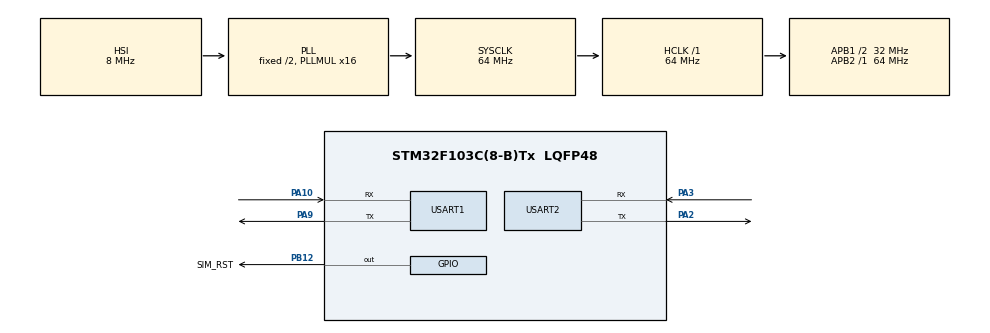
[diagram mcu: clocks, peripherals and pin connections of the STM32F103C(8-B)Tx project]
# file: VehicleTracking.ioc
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Dma.Request0=USART1_RX
Dma.USART1_RX.0.Direction=DMA_PERIPH_TO_MEMORY
Dma.USART1_RX.0.Instance=DMA1_Channel5
Dma.USART1_RX.0.MemDataAlignment=DMA_MDATAALIGN_BYTE
Dma.USART1_RX.0.MemInc=DMA_MINC_ENABLE
Dma.USART1_RX.0.Mode=DMA_NORMAL
Dma.USART1_RX.0.PeriphDataAlignment=DMA_PDATAALIGN_BYTE
Dma.USART1_RX.0.PeriphInc=DMA_PINC_DISABLE
Dma.USART1_RX.0.Priority=DMA_PRIORITY_LOW
Mcu.Family=STM32F1
Mcu.Name=STM32F103C(8-B)Tx
Mcu.Package=LQFP48
NVIC.DMA1_Channel5_IRQn=true\:0\:0\:false\:false\:true\:false\:true\:true
NVIC.PriorityGroup=NVIC_PRIORITYGROUP_4
NVIC.USART1_IRQn=true\:0\:0\:false\:false\:true\:true\:true\:true
NVIC.USART2_IRQn=true\:0\:0\:false\:false\:true\:true\:true\:true
PA10.Mode=Asynchronous
PA10.Signal=USART1_RX
PA13.Mode=Serial_Wire
PA13.Signal=SYS_JTMS-SWDIO
PA14.Mode=Serial_Wire
PA14.Signal=SYS_JTCK-SWCLK
PA2.Mode=Asynchronous
PA2.Signal=USART2_TX
PA3.Mode=Asynchronous
PA3.Signal=USART2_RX
PA9.Mode=Asynchronous
PA9.Signal=USART1_TX
PB12.GPIO_Label=SIM_RST
PB12.Signal=GPIO_Output
ProjectManager.HeapSize=0x200
ProjectManager.StackSize=0x400
ProjectManager.TargetToolchain=STM32CubeIDE
RCC.AHBFreq_Value=64000000
RCC.APB1CLKDivider=RCC_HCLK_DIV2
RCC.APB1Freq_Value=32000000
RCC.APB1TimFreq_Value=64000000
RCC.APB2Freq_Value=64000000
RCC.APB2TimFreq_Value=64000000
RCC.HCLKFreq_Value=64000000
RCC.PLLMUL=RCC_PLL_MUL16
RCC.SYSCLKFreq_VALUE=64000000
RCC.SYSCLKSource=RCC_SYSCLKSOURCE_PLLCLK
RCC.USBFreq_Value=64000000
USART1.VirtualMode=VM_ASYNC
USART2.VirtualMode=VM_ASYNC
board=custom

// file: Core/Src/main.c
/* USER CODE BEGIN Header */
/**
  ******************************************************************************
  * @file           : main.c
  * @brief          : Main program body
  ******************************************************************************
  * @attention
  *
  * Copyright (c) 2024 STMicroelectronics.
  * All rights reserved.
  *
  * This software is licensed under terms that can be found in the LICENSE file
  * in the root directory of this software component.
  * If no LICENSE file comes with this software, it is provided AS-IS.
  *
  ******************************************************************************
  */
/* USER CODE END Header */
#include "main.h"

/* USER CODE BEGIN Includes */
#include<stdio.h>
#include <string.h>

/* USER CODE END Includes */

UART_HandleTypeDef huart1;
UART_HandleTypeDef huart2;
DMA_HandleTypeDef hdma_usart1_rx;

void SystemClock_Config(void);
static void MX_GPIO_Init(void);
static void MX_DMA_Init(void);
static void MX_USART1_UART_Init(void);
static void MX_USART2_UART_Init(void);

/* USER CODE BEGIN 0 */
#define API_POST_DATA			"http://103.77.209.93:3001/api/device/add-data"

TAU1201_t gps;
sim7600_t sim;

/*
 * UART interupt function
 * */
void HAL_UART_RxCpltCallback(UART_HandleTypeDef *huart)
{
	if (huart == gps.huart)
	{
		GPS_UART_CallBack(&gps);
	}
}

/*
 * UART DMA Callback function
 * */
void HAL_UARTEx_RxEventCallback(UART_HandleTypeDef *huart, uint16_t Size)
{
	SIM_UART_DMA_CallBack(&sim);
}

char DataToPost[200];
float Latitude, Longitude, Speed, Satelites;

void PostDataToServer()
{
	printf("Post data to servers\r\n");

	memset(DataToPost, 0, sizeof(DataToPost));

//	Latitude = gps.dec_latitude;
//	Longitude = gps.dec_longitude;
//	Speed = gps.

	Latitude = getLatitude(&gps);
	Longitude = getLongitude(&gps);
	Speed = getSpeed(&gps);
	if (Speed < 1) Speed = 0;

	sprintf(DataToPost, "{\"device_id\":\"VH00001\",\"latitude\":%.6f,\"longitude\":%.6f,\"date\": null,\"time\": null,\"RSSI\": 44,\"speed\": %.1f}",
			Latitude,		   // S0: Kinh độ
			Longitude,		   // S1: Vĩ độ
			Speed);

	if (http_post(&sim, API_POST_DATA, DataToPost) == SIM7600_OK)
	{

		printf("Post data (%s) to server completed\r\n", DataToPost);
	}
	else
	{
		printf("Post data to server fail\r\n");
	}
//	HAL_Delay(1000);
}

/* USER CODE END 0 */

int main(void)
{

  /* MCU Configuration--------------------------------------------------------*/

  /* Reset of all peripherals, Initializes the Flash interface and the Systick. */
  HAL_Init();

  /* Configure the system clock */
  SystemClock_Config();

  /* Initialize all configured peripherals */
  MX_GPIO_Init();
  MX_DMA_Init();
  MX_USART1_UART_Init();
  MX_USART2_UART_Init();
  /* USER CODE BEGIN 2 */
  GPS_Init(&gps, &huart2);

  SIMInit(&sim,
		  	  &huart1,
			  &hdma_usart1_rx,
			  SIM_RST_Pin,
			  SIM_RST_GPIO_Port);
  /* USER CODE END 2 */

  /* Infinite loop */
  /* USER CODE BEGIN WHILE */
  while (1)
  {

//		CheckSimConnect(&sim);
//		GetSignal(&sim);

	  	  PostDataToServer();
	  	GetSignal(&sim);

	  	  HAL_Delay(5000);
    /* USER CODE END WHILE */

  }
}

void SystemClock_Config(void)
{
  RCC_OscInitTypeDef RCC_OscInitStruct = {0};
  RCC_ClkInitTypeDef RCC_ClkInitStruct = {0};

  /** Initializes the RCC Oscillators according to the specified parameters
  * in the RCC_OscInitTypeDef structure.
  */
  RCC_OscInitStruct.OscillatorType = RCC_OSCILLATORTYPE_HSI;
  RCC_OscInitStruct.HSIState = RCC_HSI_ON;
  RCC_OscInitStruct.HSICalibrationValue = RCC_HSICALIBRATION_DEFAULT;
  RCC_OscInitStruct.PLL.PLLState = RCC_PLL_ON;
  RCC_OscInitStruct.PLL.PLLSource = RCC_PLLSOURCE_HSI_DIV2;
  RCC_OscInitStruct.PLL.PLLMUL = RCC_PLL_MUL16;
  if (HAL_RCC_OscConfig(&RCC_OscInitStruct) != HAL_OK)
  {
    Error_Handler();
  }

  /** Initializes the CPU, AHB and APB buses clocks
  */
  RCC_ClkInitStruct.ClockType = RCC_CLOCKTYPE_HCLK|RCC_CLOCKTYPE_SYSCLK
                              |RCC_CLOCKTYPE_PCLK1|RCC_CLOCKTYPE_PCLK2;
  RCC_ClkInitStruct.SYSCLKSource = RCC_SYSCLKSOURCE_PLLCLK;
  RCC_ClkInitStruct.AHBCLKDivider = RCC_SYSCLK_DIV1;
  RCC_ClkInitStruct.APB1CLKDivider = RCC_HCLK_DIV2;
  RCC_ClkInitStruct.APB2CLKDivider = RCC_HCLK_DIV1;

  if (HAL_RCC_ClockConfig(&RCC_ClkInitStruct, FLASH_LATENCY_2) != HAL_OK)
  {
    Error_Handler();
  }
}

static void MX_USART1_UART_Init(void)
{

  huart1.Instance = USART1;
  huart1.Init.BaudRate = 115200;
  huart1.Init.WordLength = UART_WORDLENGTH_8B;
  huart1.Init.StopBits = UART_STOPBITS_1;
  huart1.Init.Parity = UART_PARITY_NONE;
  huart1.Init.Mode = UART_MODE_TX_RX;
  huart1.Init.HwFlowCtl = UART_HWCONTROL_NONE;
  huart1.Init.OverSampling = UART_OVERSAMPLING_16;
  if (HAL_UART_Init(&huart1) != HAL_OK)
  {
    Error_Handler();
  }

}

static void MX_USART2_UART_Init(void)
{

  huart2.Instance = USART2;
  huart2.Init.BaudRate = 115200;
  huart2.Init.WordLength = UART_WORDLENGTH_8B;
  huart2.Init.StopBits = UART_STOPBITS_1;
  huart2.Init.Parity = UART_PARITY_NONE;
  huart2.Init.Mode = UART_MODE_TX_RX;
  huart2.Init.HwFlowCtl = UART_HWCONTROL_NONE;
  huart2.Init.OverSampling = UART_OVERSAMPLING_16;
  if (HAL_UART_Init(&huart2) != HAL_OK)
  {
    Error_Handler();
  }

}

static void MX_DMA_Init(void)
{

  /* DMA controller clock enable */
  __HAL_RCC_DMA1_CLK_ENABLE();

  /* DMA interrupt init */
  /* DMA1_Channel5_IRQn interrupt configuration */
  HAL_NVIC_SetPriority(DMA1_Channel5_IRQn, 0, 0);
  HAL_NVIC_EnableIRQ(DMA1_Channel5_IRQn);

}

static void MX_GPIO_Init(void)
{
  GPIO_InitTypeDef GPIO_InitStruct = {0};

  /* GPIO Ports Clock Enable */
  __HAL_RCC_GPIOA_CLK_ENABLE();
  __HAL_RCC_GPIOB_CLK_ENABLE();

  /*Configure GPIO pin Output Level */
  HAL_GPIO_WritePin(SIM_RST_GPIO_Port, SIM_RST_Pin, GPIO_PIN_RESET);

  /*Configure GPIO pin : SIM_RST_Pin */
  GPIO_InitStruct.Pin = SIM_RST_Pin;
  GPIO_InitStruct.Mode = GPIO_MODE_OUTPUT_PP;
  GPIO_InitStruct.Pull = GPIO_NOPULL;
  GPIO_InitStruct.Speed = GPIO_SPEED_FREQ_LOW;
  HAL_GPIO_Init(SIM_RST_GPIO_Port, &GPIO_InitStruct);

}

void Error_Handler(void)
{
  __disable_irq();
  while (1)
  {
  }
}
